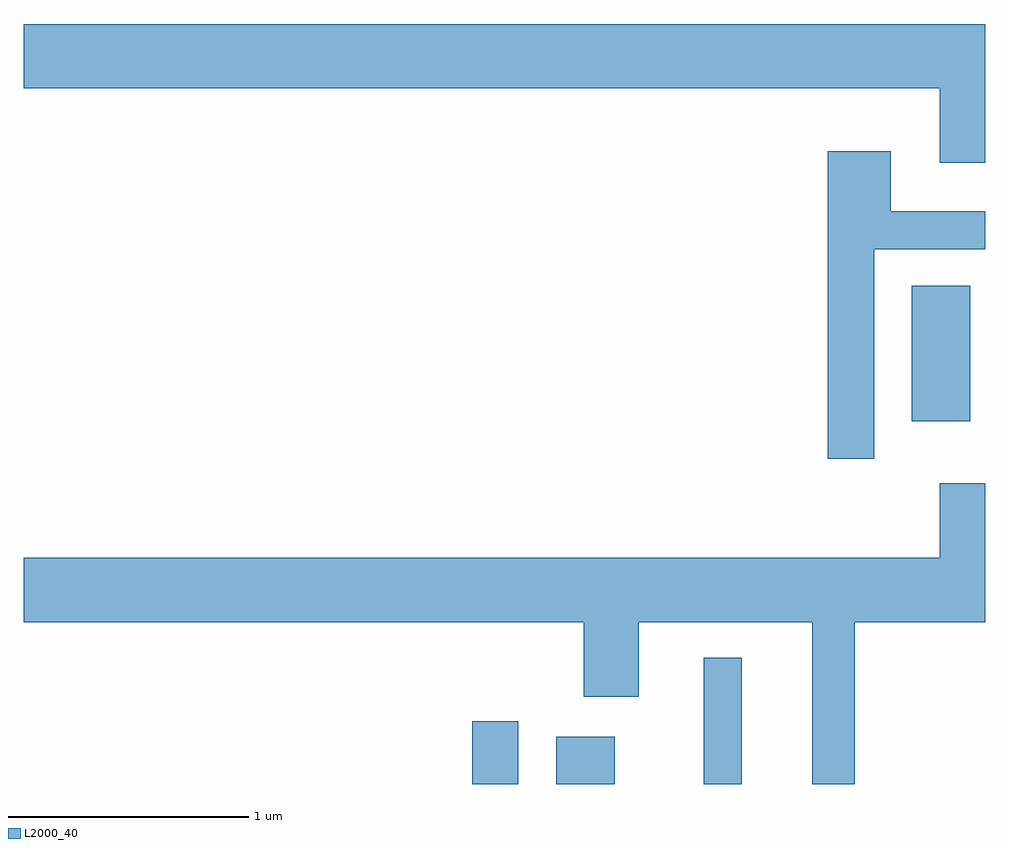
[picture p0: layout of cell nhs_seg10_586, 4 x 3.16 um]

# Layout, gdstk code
import gdstk
lib = gdstk.Library(unit=1e-6, precision=1e-09)
def R(c, l, rs):  # rectangles x0, y0, x1, y1
    for r in rs: c.add(gdstk.rectangle(r[:2], r[2:], *l))
def P(c, l, *ps):  # polygons
    for p in ps: c.add(gdstk.Polygon(p, *l))
L2000_40 = (2000, 40)

nhs_seg10_586 = lib.new_cell('nhs_seg10_586')
R(nhs_seg10_586, L2000_40, [(203.476,2166.522,203.669,2166.784), (203.826,2166.522,204.069,2166.719), (204.441,2166.522,204.599,2167.048), (205.306,2168.031,205.549,2168.594)])
P(nhs_seg10_586, L2000_40, [(205.611,2169.684),(201.611,2169.684),(201.611,2169.416),(205.421,2169.416),(205.421,2169.106),(205.611,2169.106)],
  [(205.149,2168.746),(205.611,2168.746),(205.611,2168.904),(205.219,2168.904),(205.219,2169.154),(204.956,2169.154),(204.956,2167.876),(205.149,2167.876)],
  [(205.069,2167.196),(205.611,2167.196),(205.611,2167.774),(205.421,2167.774),(205.421,2167.464),(201.611,2167.464),(201.611,2167.196),(203.941,2167.196),(203.941,2166.886),(204.169,2166.886),(204.169,2167.196),(204.891,2167.196),(204.891,2166.522),(205.069,2166.522)])

lib.write_gds('nhs_seg10_586.gds')
